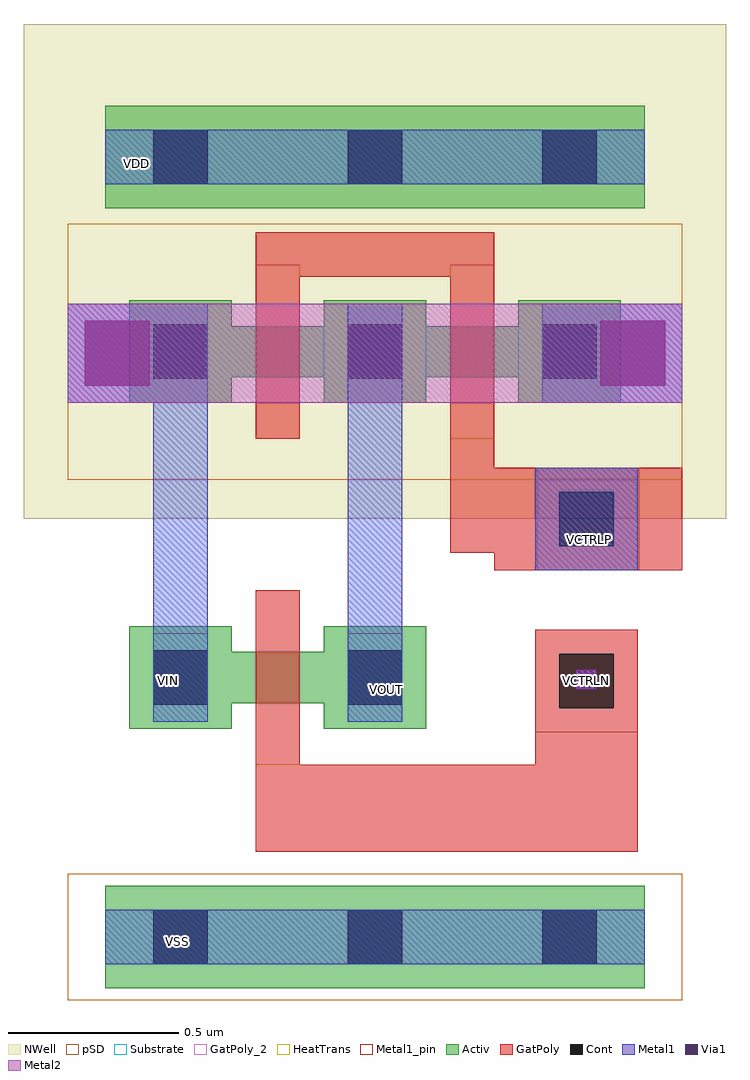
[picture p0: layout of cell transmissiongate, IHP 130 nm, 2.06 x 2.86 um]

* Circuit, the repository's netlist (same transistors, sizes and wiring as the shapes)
* Extracted by KLayout with SG13G2 LVS runset on : 06/03/2026 18:58

.SUBCKT transmissiongate VSS VDD VCTRLN VIN VOUT VCTRLP
M$1 VIN VCTRLN VOUT VSS sg13_lv_nmos L=0.13u W=0.15u AS=0.1005p AD=0.1005p
+ PS=1.34u PD=1.34u
M$2 VIN VCTRLP VOUT VDD sg13_lv_pmos L=0.13u W=0.3u AS=0.156p AD=0.156p
+ PS=2.08u PD=2.08u
.ENDS transmissiongate

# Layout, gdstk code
import gdstk
lib = gdstk.Library(unit=1e-6, precision=5e-09)
def R(c, l, rs):  # rectangles x0, y0, x1, y1
    for r in rs: c.add(gdstk.rectangle(r[:2], r[2:], *l))
def A(c, l, x, y, w, h, nx, ny, dx, dy):  # array of equal rectangles
    R(c, l, [(x+i*dx, y+j*dy, x+i*dx+w, y+j*dy+h) for i in range(nx) for j in range(ny)])
Activ = (1, 0)
GatPoly = (5, 0)
GatPoly_2 = (5, 2)
Cont = (6, 0)
Metal1 = (8, 0)
Metal1_pin = (8, 2)
Metal2 = (10, 0)
pSD = (14, 0)
Via1 = (19, 0)
NWell = (31, 0)
Substrate = (40, 0)
HeatTrans = (51, 0)

nmos = lib.new_cell('nmos')
R(nmos, Activ, [(0,0.025,0.3,0.325), (0.57,0.025,0.87,0.325), (0,0.1,0.87,0.25)])
R(nmos, GatPoly, [(0.37,-0.08,0.5,0.43)])
R(nmos, GatPoly_2, [(0.37,-0.08,0.5,0.43)])
R(nmos, Cont, [(0.07,0.095,0.23,0.255), (0.64,0.095,0.8,0.255)])
R(nmos, Metal1, [(0.07,0.045,0.23,0.305), (0.64,0.045,0.8,0.305)])
R(nmos, Metal1_pin, [(0.07,0.045,0.23,0.305), (0.64,0.045,0.8,0.305)])
R(nmos, HeatTrans, [(0.37,-0.08,0.5,0.43)])
nmos.add(gdstk.Label('nmos', (0.435,0.175), layer=63, texttype=0))
nmos.add(gdstk.Label('nmos', (0.435,0.175), layer=51, texttype=0))

pmos = lib.new_cell('pmos')
R(pmos, Activ, [(0,-0.04,0.3,0.26), (0.57,-0.04,0.87,0.26), (0,0.035,0.87,0.185)])
R(pmos, GatPoly, [(0.37,-0.145,0.5,0.365), (0.37,-0.145,0.5,0.365)])
R(pmos, Cont, [(0.07,0.03,0.23,0.19), (0.64,0.03,0.8,0.19)])
R(pmos, Metal1, [(0.07,-0.02,0.23,0.24), (0.07,-0.02,0.23,0.25), (0.64,-0.02,0.8,0.24), (0.64,-0.02,0.8,0.24)])
R(pmos, pSD, [(-0.18,-0.265,1.05,0.485)])
R(pmos, NWell, [(-0.31,-0.38,1.18,0.545)])
R(pmos, Substrate, [(0.57,-0.04,0.87,0.26)])
R(pmos, HeatTrans, [(0.37,-0.145,0.5,0.365)])
pmos.add(gdstk.Label('pmos', (0.435,0.11), layer=63, texttype=0))
pmos.add(gdstk.Label('pmos', (0.435,0.11), layer=51, texttype=0))

via1_constraint = lib.new_cell('Via1_constraint')
R(via1_constraint, Metal1, [(0,0,0.29,0.29)])
R(via1_constraint, Metal2, [(0,0,0.29,0.29)])
R(via1_constraint, Via1, [(0.05,0.05,0.24,0.24)])

via1_constraint_1 = lib.new_cell('Via1_constraint$1')
R(via1_constraint_1, Metal1, [(0,0,0.29,0.29)])
R(via1_constraint_1, Metal2, [(0,0,0.29,0.29)])
R(via1_constraint_1, Via1, [(0.05,0.05,0.24,0.24)])

transmissiongate = lib.new_cell('transmissiongate')
R(transmissiongate, Activ, [(0.24,0.035,1.82,0.335), (0.24,2.32,1.82,2.62)])
R(transmissiongate, GatPoly, [(0.68,0.435,1.5,0.69), (1.5,0.435,1.8,1.085)])
R(transmissiongate, GatPoly_2, [(1.505,1.26,1.805,1.56)])
A(transmissiongate, Cont, 0.38, 0.105, 0.16, 0.16, 3, 2, 0.57, 2.285)
R(transmissiongate, Cont, [(1.57,0.855,1.73,1.015), (1.57,1.33,1.73,1.49)])
R(transmissiongate, Metal1, [(0.24,0.105,1.82,0.265), (1.5,1.26,1.8,1.56), (0.42,1.75,0.54,2.04), (1.52,1.75,1.64,2.04), (0.24,2.39,1.82,2.55)])
R(transmissiongate, Metal1_pin, [(0.24,0.105,1.82,0.265), (1.5,0.785,1.8,1.085), (0.95,0.865,1.11,1.02), (1.585,0.87,1.715,1), (1.5,1.26,1.8,1.56), (0.24,2.39,1.82,2.55)])
R(transmissiongate, pSD, [(0.13,0,1.93,0.37)])
R(transmissiongate, NWell, [(0,2.335,2.06,2.86)])
transmissiongate.add(gdstk.FlexPath([(0.46,2.03),(0.46,0.815)], 0.16, ends="flush", simple_path=True, layer=8, datatype=0))  # Metal1
transmissiongate.add(gdstk.FlexPath([(1.03,2.03),(1.03,0.815)], 0.16, ends="flush", simple_path=True, layer=8, datatype=0))  # Metal1
transmissiongate.add(gdstk.FlexPath([(0.31,1.895),(1.75,1.895),(1.75,1.895)], 0.29, ends="flush", simple_path=True, layer=10, datatype=0))  # Metal2
transmissiongate.add(gdstk.FlexPath([(1.38,1.41),(1.93,1.41),(1.93,1.41)], 0.3, ends="flush", simple_path=True, layer=5, datatype=0))  # GatPoly
transmissiongate.add(gdstk.FlexPath([(1.315,1.645),(1.315,1.34),(1.315,1.31)], 0.13, ends="flush", simple_path=True, layer=5, datatype=0))  # GatPoly
transmissiongate.add(gdstk.FlexPath([(0.745,0.69),(0.745,0.635),(0.745,0.635)], 0.13, ends="flush", simple_path=True, layer=5, datatype=0))  # GatPoly
transmissiongate.add(gdstk.FlexPath([(0.745,2.085),(0.745,2.185),(1.315,2.185),(1.315,2.085)], 0.13, ends="flush", simple_path=True, layer=5, datatype=0))  # GatPoly
transmissiongate.add(gdstk.Reference(nmos, (0.31,0.77)))
transmissiongate.add(gdstk.Reference(pmos, (0.31,1.79)))
transmissiongate.add(gdstk.Reference(pmos, (0.88,1.79)))
transmissiongate.add(gdstk.Reference(via1_constraint, (0.13,1.75)))
transmissiongate.add(gdstk.Reference(via1_constraint, (1.64,1.75)))
transmissiongate.add(gdstk.Reference(via1_constraint_1, (1.62,0.91), magnification=0.2))
transmissiongate.add(gdstk.Label('VSS', (0.45,0.17), layer=8, texttype=25))
transmissiongate.add(gdstk.Label('VCTRLN', (1.65,0.935), layer=8, texttype=25))
transmissiongate.add(gdstk.Label('VOUT', (1.065,0.91), layer=8, texttype=25))
transmissiongate.add(gdstk.Label('VCTRLP', (1.66,1.35), layer=8, texttype=25))
transmissiongate.add(gdstk.Label('VIN', (0.425,0.935), layer=8, texttype=25))
transmissiongate.add(gdstk.Label('VDD', (0.33,2.45), layer=8, texttype=25))

lib.write_gds('transmissiongate.gds')
